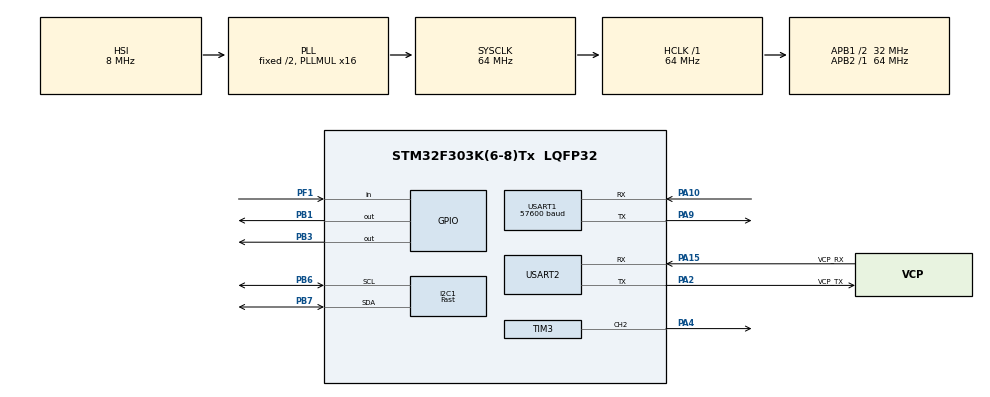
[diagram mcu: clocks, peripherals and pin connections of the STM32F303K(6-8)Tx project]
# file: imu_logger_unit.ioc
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I2C1.I2C_Speed_Mode=I2C_Fast
I2C1.Timing=0x00602173
Mcu.Family=STM32F3
Mcu.Name=STM32F303K(6-8)Tx
Mcu.Package=LQFP32
NVIC.PriorityGroup=NVIC_PRIORITYGROUP_4
NVIC.TIM2_IRQn=true\:0\:0\:false\:false\:true\:true\:true
PA10.Mode=Asynchronous
PA10.Signal=USART1_RX
PA13.GPIO_Label=SWDIO
PA13.Mode=Serial_Wire
PA13.Signal=SYS_JTMS-SWDIO
PA14.GPIO_Label=SWCLK
PA14.Mode=Serial_Wire
PA14.Signal=SYS_JTCK-SWCLK
PA15.GPIO_Label=VCP_RX
PA15.Mode=Asynchronous
PA15.Signal=USART2_RX
PA2.GPIO_Label=VCP_TX
PA2.Mode=Asynchronous
PA2.Signal=USART2_TX
PA4.Signal=S_TIM3_CH2
PA9.Mode=Asynchronous
PA9.Signal=USART1_TX
PB1.Signal=GPIO_Output
PB3.Signal=GPIO_Output
PB6.Mode=I2C
PB6.Signal=I2C1_SCL
PB7.Mode=I2C
PB7.Signal=I2C1_SDA
PF0\ /\ OSC_IN.GPIO_Label=MCO
PF0\ /\ OSC_IN.Mode=HSE-External-Clock-Source
PF0\ /\ OSC_IN.Signal=RCC_OSC_IN
PF1\ /\ OSC_OUT.GPIO_PuPd=GPIO_PULLUP
PF1\ /\ OSC_OUT.Signal=GPIO_Input
ProjectManager.HeapSize=0x200
ProjectManager.StackSize=0x400
ProjectManager.TargetToolchain=STM32CubeIDE
RCC.AHBFreq_Value=64000000
RCC.APB1CLKDivider=RCC_HCLK_DIV2
RCC.APB1Freq_Value=32000000
RCC.APB1TimFreq_Value=64000000
RCC.APB2Freq_Value=64000000
RCC.APB2TimFreq_Value=64000000
RCC.CortexFreq_Value=64000000
RCC.HCLKFreq_Value=64000000
RCC.HSE_VALUE=8000000
RCC.HSI_VALUE=8000000
RCC.I2c1ClockSelection=RCC_I2C1CLKSOURCE_SYSCLK
RCC.PLLMUL=RCC_PLL_MUL16
RCC.SYSCLKFreq_VALUE=64000000
RCC.SYSCLKSourceVirtual=RCC_SYSCLKSOURCE_PLLCLK
RCC.Usart1ClockSelection=RCC_USART1CLKSOURCE_SYSCLK
SH.S_TIM3_CH2.0=TIM3_CH2,PWM Generation2 CH2
TIM2.Period=1000-1
TIM2.Prescaler=640-1
TIM3.Channel-PWM\ Generation2\ CH2=TIM_CHANNEL_2
TIM3.Period=100-1
TIM3.Prescaler=248-1
USART1.BaudRate=57600
USART1.VirtualMode-Asynchronous=VM_ASYNC
USART2.VirtualMode-Asynchronous=VM_ASYNC
VP_TIM2_VS_ClockSourceINT.Mode=Internal
VP_TIM3_VS_ClockSourceINT.Mode=Internal
board=NUCLEO-F303K8

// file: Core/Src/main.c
/* USER CODE BEGIN Header */
/**
  ******************************************************************************
  * @file           : main.c
  * @brief          : Main program body
  ******************************************************************************
  * @attention
  *
  * <h2><center>&copy; Copyright (c) 2020 STMicroelectronics.
  * All rights reserved.</center></h2>
  *
  * This software component is licensed by ST under BSD 3-Clause license,
  * the "License"; You may not use this file except in compliance with the
  * License. You may obtain a copy of the License at:
  *                        opensource.org/licenses/BSD-3-Clause
  *
  ******************************************************************************
  */
/* USER CODE END Header */

#include "main.h"
#include "i2c.h"
#include "tim.h"
#include "usart.h"
#include "gpio.h"

/* USER CODE BEGIN Includes */
#include <stdio.h>
#include "lpme1_driver.h"
#include "lpme1.h"
/* USER CODE END Includes */

/* USER CODE BEGIN PD */
//Enable printf
#ifdef __GNUC__
  /* With GCC/RAISONANCE, small printf (option LD Linker->Libraries->Small printf
     set to 'Yes') calls __io_putchar() */
  #define PUTCHAR_PROTOTYPE int __io_putchar(int ch)
#else
  #define PUTCHAR_PROTOTYPE int fputc(int ch, FILE *f)
#endif /* __GNUC__ */
/* USER CODE END PD */

/* USER CODE BEGIN PV */
Lpme1_Data lpme1Data;

TIM_OC_InitTypeDef ConfigOC_Speaker;
_Bool logger_flag=0, ready_flag=1;
int counter=0;
const int counter_th=2000;	//2000 * 0.01 = 20[s] logging
/* USER CODE END PV */

void SystemClock_Config(void);

/* USER CODE BEGIN 0 */
PUTCHAR_PROTOTYPE
{
 HAL_UART_Transmit(&huart1, (uint8_t *)&ch, 1, 0xFFFF);
 return ch;
}

void setup(void);
void speaker_output(float duty);

/* USER CODE END 0 */

int main(void)
{

  /* MCU Configuration--------------------------------------------------------*/

  /* Reset of all peripherals, Initializes the Flash interface and the Systick. */
  HAL_Init();

  /* Configure the system clock */
  SystemClock_Config();

  /* Initialize all configured peripherals */
  MX_GPIO_Init();
  MX_USART2_UART_Init();
  MX_I2C1_Init();
  MX_TIM3_Init();
  MX_USART1_UART_Init();
  MX_TIM2_Init();
  /* USER CODE BEGIN 2 */
  setup();
  /* USER CODE END 2 */

  /* Infinite loop */
  while (1)
  {

    /* USER CODE BEGIN 3 */
	  if(HAL_GPIO_ReadPin(GPIOF, GPIO_PIN_1)==GPIO_PIN_RESET) {
		  for(int i=0;i<3;i++){
		  	  speaker_output(0.5);
		  	  HAL_Delay(500);
		  	  speaker_output(0);
		  	  HAL_Delay(500);
		  }
		  logger_flag=1;
	  }
	  if(logger_flag==0 && counter>counter_th){
	  	  speaker_output(0.5);
	  	  counter=0;
		  HAL_Delay(1000);
		  speaker_output(0);
	  }

  }
  /* USER CODE END 3 */
}

void SystemClock_Config(void)
{
  RCC_OscInitTypeDef RCC_OscInitStruct = {0};
  RCC_ClkInitTypeDef RCC_ClkInitStruct = {0};
  RCC_PeriphCLKInitTypeDef PeriphClkInit = {0};

  /** Initializes the CPU, AHB and APB busses clocks
  */
  RCC_OscInitStruct.OscillatorType = RCC_OSCILLATORTYPE_HSI;
  RCC_OscInitStruct.HSIState = RCC_HSI_ON;
  RCC_OscInitStruct.HSICalibrationValue = RCC_HSICALIBRATION_DEFAULT;
  RCC_OscInitStruct.PLL.PLLState = RCC_PLL_ON;
  RCC_OscInitStruct.PLL.PLLSource = RCC_PLLSOURCE_HSI;
  RCC_OscInitStruct.PLL.PLLMUL = RCC_PLL_MUL16;
  if (HAL_RCC_OscConfig(&RCC_OscInitStruct) != HAL_OK)
  {
    Error_Handler();
  }
  /** Initializes the CPU, AHB and APB busses clocks
  */
  RCC_ClkInitStruct.ClockType = RCC_CLOCKTYPE_HCLK|RCC_CLOCKTYPE_SYSCLK
                              |RCC_CLOCKTYPE_PCLK1|RCC_CLOCKTYPE_PCLK2;
  RCC_ClkInitStruct.SYSCLKSource = RCC_SYSCLKSOURCE_PLLCLK;
  RCC_ClkInitStruct.AHBCLKDivider = RCC_SYSCLK_DIV1;
  RCC_ClkInitStruct.APB1CLKDivider = RCC_HCLK_DIV2;
  RCC_ClkInitStruct.APB2CLKDivider = RCC_HCLK_DIV1;

  if (HAL_RCC_ClockConfig(&RCC_ClkInitStruct, FLASH_LATENCY_2) != HAL_OK)
  {
    Error_Handler();
  }
  PeriphClkInit.PeriphClockSelection = RCC_PERIPHCLK_USART1|RCC_PERIPHCLK_I2C1;
  PeriphClkInit.Usart1ClockSelection = RCC_USART1CLKSOURCE_SYSCLK;
  PeriphClkInit.I2c1ClockSelection = RCC_I2C1CLKSOURCE_SYSCLK;
  if (HAL_RCCEx_PeriphCLKConfig(&PeriphClkInit) != HAL_OK)
  {
    Error_Handler();
  }
}

/* USER CODE BEGIN 4 */
void setup(){
	ConfigOC_Speaker.OCMode = TIM_OCMODE_PWM1;
	ConfigOC_Speaker.OCPolarity = TIM_OCPOLARITY_HIGH;
	ConfigOC_Speaker.OCNPolarity = TIM_OCNPOLARITY_HIGH;
	ConfigOC_Speaker.OCFastMode = TIM_OCFAST_DISABLE;
	ConfigOC_Speaker.OCIdleState = TIM_OCIDLESTATE_RESET;
	ConfigOC_Speaker.OCNIdleState = TIM_OCNIDLESTATE_RESET;

	HAL_Delay(300);
	printf("Timestamp,Roll Speed,Pitch Speed,Yaw Speed\r\n");
	HAL_Delay(100);
	while(1) {
		if(lpme1_set_Freq(LPMS_DATA_FREQ_200HZ) != LPME1_OK) ready_flag=0;
		if(HAL_TIM_Base_Start_IT(&htim2) != HAL_OK) ready_flag=0;
		HAL_Delay(100);
		if(ready_flag == 1) break;
		ready_flag = 1;
	}
	HAL_TIM_PWM_Start(&htim3,TIM_CHANNEL_2);

	//Ready beep
	for(int i=0;i<3;i++){
		speaker_output(0.5);
		HAL_Delay(50);
		speaker_output(0);
		HAL_Delay(50);
	}
}

//buzzer control
void speaker_output(float duty){
	if(duty>0){
		ConfigOC_Speaker.Pulse=(int)(duty*htim3.Init.Period);
		HAL_TIM_PWM_ConfigChannel(&htim3,&ConfigOC_Speaker,TIM_CHANNEL_2);
		HAL_TIM_PWM_Start(&htim3,TIM_CHANNEL_2);
		HAL_GPIO_WritePin(GPIOB,GPIO_PIN_1,GPIO_PIN_SET);
	} else {
		ConfigOC_Speaker.Pulse=0;
		HAL_TIM_PWM_ConfigChannel(&htim3,&ConfigOC_Speaker,TIM_CHANNEL_2);
		HAL_TIM_PWM_Start(&htim3,TIM_CHANNEL_2);
		HAL_GPIO_WritePin(GPIOB,GPIO_PIN_1,GPIO_PIN_RESET);
	}
}

void HAL_TIM_PeriodElapsedCallback(TIM_HandleTypeDef *htim)
{
  if (htim == &htim2){
	  if(lpme1_get_timestamp(&lpme1Data.time)==LPME1_OK) HAL_GPIO_TogglePin(GPIOB, GPIO_PIN_3);	//For instant visual debug
	  //lpme1_get_acc(lpme1Data.acc);
	  lpme1_get_gyr(lpme1Data.gyr);
	  //lpme1_get_mag(lpme1Data.mag);
	  //lpme1_get_euler(lpme1Data.euler);
	  //lpme1_get_quat(lpme1Data.quat);

	  //Data transmit to logger
	  if(logger_flag==1){
		  //printf("%.3f,%f,%.3f\r\n", lpme1Data.time, lpme1Data.euler[2], lpme1Data.gyr[2]);
		  printf("%.3f,%3f,%.3f,%.3f\r\n", lpme1Data.time, lpme1Data.gyr[0], lpme1Data.gyr[1], lpme1Data.gyr[2]);
		  counter++;
	  }
	  if(counter>counter_th){
		  logger_flag=0;
	  }
  }
  HAL_TIM_Base_Start_IT(&htim2);
}
/* USER CODE END 4 */

void Error_Handler(void)
{
}

/************************ (C) COPYRIGHT STMicroelectronics *****END OF FILE****/
